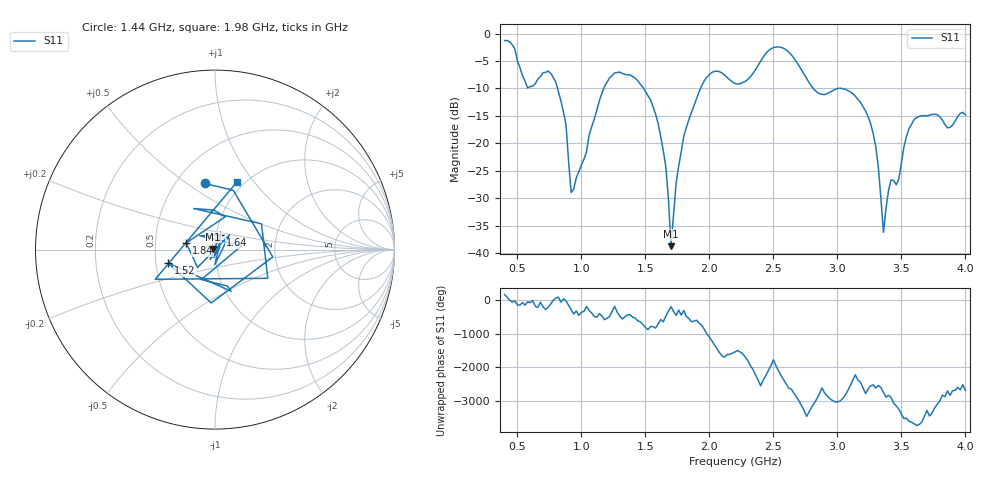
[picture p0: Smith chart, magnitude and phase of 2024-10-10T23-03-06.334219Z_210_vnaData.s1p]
! Created with skrf (http://scikit-rf.org).
# Hz S RI R 50.0
!freq ReS11 ImS11
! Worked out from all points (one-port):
!   181 points, 400 MHz to 4 GHz, reference 50 ohm
!   lowest |S11| = -38.7 dB at 1.7 GHz (marker M1), VSWR 1.02, Z = 48.9 + j0.396 ohm
!   |S11| at or under -10 dB: 813.2 MHz to 1.175 GHz (361.5 MHz wide, 36.4 % of centre); 1.486 GHz to 1.931 GHz (444.6 MHz wide, 26 % of centre); 3.03 GHz to end of sweep (the widest 3 of 4)
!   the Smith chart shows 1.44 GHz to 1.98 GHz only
!   S11 on the Smith chart (normalised r, x): 1.44 GHz: 0.69, +0.59; 1.52 GHz: 0.58, -0.09; 1.64 GHz: 1.05, +0.17; 1.84 GHz: 0.72, +0.06; 1.98 GHz: 0.92, +0.83
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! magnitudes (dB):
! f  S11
! 400 MHz  -1.3
! 580 MHz  -9.9
! 760 MHz  -7.2
! 860 MHz  -14.4
! 880 MHz  -16.6
! 920 MHz  -29.0
! 1.18 GHz  -9.7
! 1.3 GHz  -7.0
! 1.44 GHz  -8.6
! 1.52 GHz  -11.3
! 1.64 GHz  -21.4
! 1.66 GHz  -24.4
! 1.7 GHz  -38.7
! 1.76 GHz  -24.1
! 1.84 GHz  -15.6
! 1.98 GHz  -8.0
! 2.2 GHz  -9.1
! 2.5 GHz  -2.6
! 2.66 GHz  -4.5
! 2.86 GHz  -11.0
! 3.1 GHz  -10.6
! 3.28 GHz  -18.3
! 3.32 GHz  -24.4
! 3.36 GHz  -36.2
! 3.4 GHz  -28.5
! 3.48 GHz  -26.5
! 3.56 GHz  -17.3
! 4 GHz  -14.8
